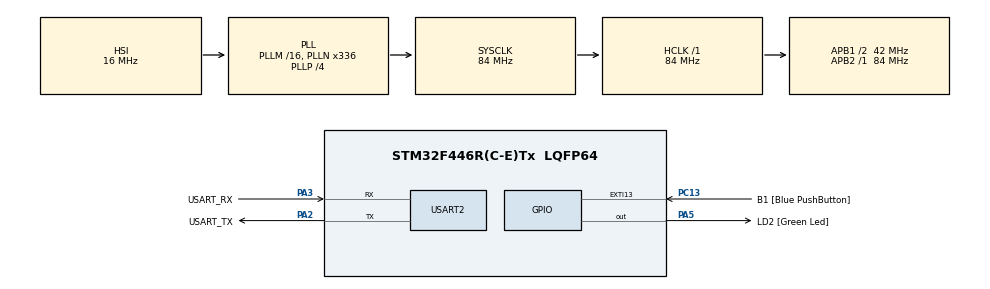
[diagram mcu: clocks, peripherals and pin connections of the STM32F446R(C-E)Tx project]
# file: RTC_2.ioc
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Mcu.Family=STM32F4
Mcu.Name=STM32F446R(C-E)Tx
Mcu.Package=LQFP64
NVIC.PriorityGroup=NVIC_PRIORITYGROUP_0
NVIC.RTC_Alarm_IRQn=true\:0\:0\:false\:false\:true\:true\:true
NVIC.TIM2_IRQn=true\:0\:0\:false\:false\:true\:true\:true
NVIC.USART2_IRQn=true\:0\:0\:false\:false\:true\:true\:true
PA13.GPIO_Label=TMS
PA13.Mode=Serial_Wire
PA13.Signal=SYS_JTMS-SWDIO
PA14.GPIO_Label=TCK
PA14.Mode=Serial_Wire
PA14.Signal=SYS_JTCK-SWCLK
PA2.GPIO_Label=USART_TX
PA2.Mode=Asynchronous
PA2.Signal=USART2_TX
PA3.GPIO_Label=USART_RX
PA3.Mode=Asynchronous
PA3.Signal=USART2_RX
PA5.GPIO_Label=LD2 [Green Led]
PA5.Signal=GPIO_Output
PB3.GPIO_Label=SWO
PB3.Signal=SYS_JTDO-SWO
PC13.GPIO_Label=B1 [Blue PushButton]
PC13.GPIO_ModeDefaultEXTI=GPIO_MODE_IT_FALLING
PC13.Signal=GPXTI13
PC14-OSC32_IN.Mode=LSE-External-Oscillator
PC14-OSC32_IN.Signal=RCC_OSC32_IN
PC15-OSC32_OUT.Mode=LSE-External-Oscillator
PC15-OSC32_OUT.Signal=RCC_OSC32_OUT
PH0-OSC_IN.Mode=HSE-External-Oscillator
PH0-OSC_IN.Signal=RCC_OSC_IN
PH1-OSC_OUT.Mode=HSE-External-Oscillator
PH1-OSC_OUT.Signal=RCC_OSC_OUT
ProjectManager.HeapSize=0x200
ProjectManager.StackSize=0x400
ProjectManager.TargetToolchain=STM32CubeIDE
RCC.48MHZClocksFreq_Value=84000000
RCC.AHBFreq_Value=84000000
RCC.APB1CLKDivider=RCC_HCLK_DIV2
RCC.APB1Freq_Value=42000000
RCC.APB1TimFreq_Value=84000000
RCC.APB2Freq_Value=84000000
RCC.APB2TimFreq_Value=84000000
RCC.CortexFreq_Value=84000000
RCC.FLatency-AdvancedSettings=FLASH_LATENCY_2
RCC.HCLKFreq_Value=84000000
RCC.HSE_VALUE=8000000
RCC.HSI_VALUE=16000000
RCC.PLLN=336
RCC.PLLP=RCC_PLLP_DIV4
RCC.RCC_RTC_Clock_SourceVirtual=RCC_RTCCLKSOURCE_LSE
RCC.SYSCLKFreq_VALUE=84000000
RCC.SYSCLKSource=RCC_SYSCLKSOURCE_PLLCLK
RCC.USBFreq_Value=168000000
RCC.VCOOutputFreq_Value=336000000
RTC.Alarm=RTC_ALARM_A
RTC.Date=11
RTC.Format=RTC_FORMAT_BIN
RTC.Hours=10
RTC.Minutes=20
RTC.Month=RTC_MONTH_NOVEMBER
RTC.WeekDay=RTC_WEEKDAY_THURSDAY
TIM2.Period=249999
TIM2.Prescaler=83
USART2.VirtualMode=VM_ASYNC
VP_RTC_VS_RTC_Activate.Mode=RTC_Enabled
VP_RTC_VS_RTC_Alarm_A_Intern.Mode=Alarm A
VP_RTC_VS_RTC_Calendar.Mode=RTC_Calendar
VP_TIM2_VS_ClockSourceINT.Mode=Internal
board=NUCLEO-F446RE

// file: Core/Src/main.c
/* USER CODE BEGIN Header */
/**
  ******************************************************************************
  * @file           : main.c
  * @brief          : Main program body
  ******************************************************************************
  * @attention
  *
  * <h2><center>&copy; Copyright (c) 2021 STMicroelectronics.
  * All rights reserved.</center></h2>
  *
  * This software component is licensed by ST under BSD 3-Clause license,
  * the "License"; You may not use this file except in compliance with the
  * License. You may obtain a copy of the License at:
  *                        opensource.org/licenses/BSD-3-Clause
  *
  ******************************************************************************
  */
/* USER CODE END Header */
#include "main.h"
#include <stdio.h>

RTC_HandleTypeDef hrtc;

TIM_HandleTypeDef htim2;

UART_HandleTypeDef huart2;

/* USER CODE BEGIN PV */
RTC_TimeTypeDef sTime = {0};
RTC_DateTypeDef sDate = {0};
char trans_str[] = {0};
/* USER CODE END PV */

void SystemClock_Config(void);
static void MX_GPIO_Init(void);
static void MX_USART2_UART_Init(void);
static void MX_TIM2_Init(void);
static void MX_RTC_Init(void);

/* USER CODE BEGIN 0 */
int _write(int file, char *ptr, int len)
{
	HAL_UART_Transmit(&huart2, (uint8_t*)ptr, len, 100);
	return len;
}

/* USER CODE END 0 */

int main(void)
{

  /* MCU Configuration--------------------------------------------------------*/

  /* Reset of all peripherals, Initializes the Flash interface and the Systick. */
  HAL_Init();

  /* Configure the system clock */
  SystemClock_Config();

  /* Initialize all configured peripherals */
  MX_GPIO_Init();
  MX_USART2_UART_Init();
  MX_TIM2_Init();
  MX_RTC_Init();
  /* USER CODE BEGIN 2 */
  HAL_TIM_Base_Start_IT(&htim2);

  //Backup register to store TIME and DATE
  HAL_RTCEx_BKUPWrite(&hrtc, RTC_BKP_DR1, 0x32F2);

  /* USER CODE END 2 */

  /* Infinite loop */
  /* USER CODE BEGIN WHILE */
  while (1)
  {
	  HAL_RTC_GetTime(&hrtc, &sTime, RTC_FORMAT_BIN); // RTC_FORMAT_BIN , RTC_FORMAT_BCD
	  //snprintf(trans_str, 63, "Time %d:%d:%d\n", sTime.Hours, sTime.Minutes, sTime.Seconds);
      //HAL_UART_Transmit(&huart2, (uint8_t*)trans_str, strlen(trans_str), 1000);
	  printf("Time %d:%d:%d\n\r", sTime.Hours, sTime.Minutes, sTime.Seconds);

	  HAL_RTC_GetDate(&hrtc, &sDate, RTC_FORMAT_BIN); // RTC_FORMAT_BIN , RTC_FORMAT_BCD
	  //snprintf(trans_str, 63, "Date %d-%d-20%d\n", sDate.Date, sDate.Month, sDate.Year);
     //HAL_UART_Transmit(&huart2, (uint8_t*)trans_str, strlen(trans_str), 1000);
	  printf("Date %.6f-%d-20%d\n\n\r", sDate.Date, sDate.Month, sDate.Year);
      HAL_Delay(1000);
    /* USER CODE END WHILE */

  }
}

void SystemClock_Config(void)
{
  RCC_OscInitTypeDef RCC_OscInitStruct = {0};
  RCC_ClkInitTypeDef RCC_ClkInitStruct = {0};

  /** Configure the main internal regulator output voltage
  */
  __HAL_RCC_PWR_CLK_ENABLE();
  __HAL_PWR_VOLTAGESCALING_CONFIG(PWR_REGULATOR_VOLTAGE_SCALE3);
  /** Initializes the RCC Oscillators according to the specified parameters
  * in the RCC_OscInitTypeDef structure.
  */
  RCC_OscInitStruct.OscillatorType = RCC_OSCILLATORTYPE_HSI|RCC_OSCILLATORTYPE_LSE;
  RCC_OscInitStruct.LSEState = RCC_LSE_ON;
  RCC_OscInitStruct.HSIState = RCC_HSI_ON;
  RCC_OscInitStruct.HSICalibrationValue = RCC_HSICALIBRATION_DEFAULT;
  RCC_OscInitStruct.PLL.PLLState = RCC_PLL_ON;
  RCC_OscInitStruct.PLL.PLLSource = RCC_PLLSOURCE_HSI;
  RCC_OscInitStruct.PLL.PLLM = 16;
  RCC_OscInitStruct.PLL.PLLN = 336;
  RCC_OscInitStruct.PLL.PLLP = RCC_PLLP_DIV4;
  RCC_OscInitStruct.PLL.PLLQ = 2;
  RCC_OscInitStruct.PLL.PLLR = 2;
  if (HAL_RCC_OscConfig(&RCC_OscInitStruct) != HAL_OK)
  {
    Error_Handler();
  }
  /** Initializes the CPU, AHB and APB buses clocks
  */
  RCC_ClkInitStruct.ClockType = RCC_CLOCKTYPE_HCLK|RCC_CLOCKTYPE_SYSCLK
                              |RCC_CLOCKTYPE_PCLK1|RCC_CLOCKTYPE_PCLK2;
  RCC_ClkInitStruct.SYSCLKSource = RCC_SYSCLKSOURCE_PLLCLK;
  RCC_ClkInitStruct.AHBCLKDivider = RCC_SYSCLK_DIV1;
  RCC_ClkInitStruct.APB1CLKDivider = RCC_HCLK_DIV2;
  RCC_ClkInitStruct.APB2CLKDivider = RCC_HCLK_DIV1;

  if (HAL_RCC_ClockConfig(&RCC_ClkInitStruct, FLASH_LATENCY_2) != HAL_OK)
  {
    Error_Handler();
  }
}

static void MX_RTC_Init(void)
{

  RTC_TimeTypeDef sTime = {0};
  RTC_DateTypeDef sDate = {0};
  RTC_AlarmTypeDef sAlarm = {0};

  /** Initialize RTC Only
  */
  hrtc.Instance = RTC;
  hrtc.Init.HourFormat = RTC_HOURFORMAT_24;
  hrtc.Init.AsynchPrediv = 127;
  hrtc.Init.SynchPrediv = 255;
  hrtc.Init.OutPut = RTC_OUTPUT_DISABLE;
  hrtc.Init.OutPutPolarity = RTC_OUTPUT_POLARITY_HIGH;
  hrtc.Init.OutPutType = RTC_OUTPUT_TYPE_OPENDRAIN;
  if (HAL_RTC_Init(&hrtc) != HAL_OK)
  {
    Error_Handler();
  }

  /** Initialize RTC and set the Time and Date
  */
  sTime.Hours = 10;
  sTime.Minutes = 20;
  sTime.Seconds = 0;
  sTime.DayLightSaving = RTC_DAYLIGHTSAVING_NONE;
  sTime.StoreOperation = RTC_STOREOPERATION_RESET;
  if (HAL_RTC_SetTime(&hrtc, &sTime, RTC_FORMAT_BIN) != HAL_OK)
  {
    Error_Handler();
  }
  sDate.WeekDay = RTC_WEEKDAY_THURSDAY;
  sDate.Month = RTC_MONTH_NOVEMBER;
  sDate.Date = 11;
  sDate.Year = 21;

  if (HAL_RTC_SetDate(&hrtc, &sDate, RTC_FORMAT_BIN) != HAL_OK)
  {
    Error_Handler();
  }
  /** Enable the Alarm A
  */
  sAlarm.AlarmTime.Hours = 0;
  sAlarm.AlarmTime.Minutes = 0;
  sAlarm.AlarmTime.Seconds = 0;
  sAlarm.AlarmTime.SubSeconds = 0;
  sAlarm.AlarmTime.DayLightSaving = RTC_DAYLIGHTSAVING_NONE;
  sAlarm.AlarmTime.StoreOperation = RTC_STOREOPERATION_RESET;
  sAlarm.AlarmMask = RTC_ALARMMASK_NONE;
  sAlarm.AlarmSubSecondMask = RTC_ALARMSUBSECONDMASK_ALL;
  sAlarm.AlarmDateWeekDaySel = RTC_ALARMDATEWEEKDAYSEL_DATE;
  sAlarm.AlarmDateWeekDay = 1;
  sAlarm.Alarm = RTC_ALARM_A;
  if (HAL_RTC_SetAlarm_IT(&hrtc, &sAlarm, RTC_FORMAT_BIN) != HAL_OK)
  {
    Error_Handler();
  }

}

static void MX_TIM2_Init(void)
{

  TIM_ClockConfigTypeDef sClockSourceConfig = {0};
  TIM_MasterConfigTypeDef sMasterConfig = {0};

  htim2.Instance = TIM2;
  htim2.Init.Prescaler = 83;
  htim2.Init.CounterMode = TIM_COUNTERMODE_UP;
  htim2.Init.Period = 249999;
  htim2.Init.ClockDivision = TIM_CLOCKDIVISION_DIV1;
  htim2.Init.AutoReloadPreload = TIM_AUTORELOAD_PRELOAD_DISABLE;
  if (HAL_TIM_Base_Init(&htim2) != HAL_OK)
  {
    Error_Handler();
  }
  sClockSourceConfig.ClockSource = TIM_CLOCKSOURCE_INTERNAL;
  if (HAL_TIM_ConfigClockSource(&htim2, &sClockSourceConfig) != HAL_OK)
  {
    Error_Handler();
  }
  sMasterConfig.MasterOutputTrigger = TIM_TRGO_RESET;
  sMasterConfig.MasterSlaveMode = TIM_MASTERSLAVEMODE_DISABLE;
  if (HAL_TIMEx_MasterConfigSynchronization(&htim2, &sMasterConfig) != HAL_OK)
  {
    Error_Handler();
  }

}

static void MX_USART2_UART_Init(void)
{

  huart2.Instance = USART2;
  huart2.Init.BaudRate = 115200;
  huart2.Init.WordLength = UART_WORDLENGTH_8B;
  huart2.Init.StopBits = UART_STOPBITS_1;
  huart2.Init.Parity = UART_PARITY_NONE;
  huart2.Init.Mode = UART_MODE_TX_RX;
  huart2.Init.HwFlowCtl = UART_HWCONTROL_NONE;
  huart2.Init.OverSampling = UART_OVERSAMPLING_16;
  if (HAL_UART_Init(&huart2) != HAL_OK)
  {
    Error_Handler();
  }

}

static void MX_GPIO_Init(void)
{
  GPIO_InitTypeDef GPIO_InitStruct = {0};

  /* GPIO Ports Clock Enable */
  __HAL_RCC_GPIOC_CLK_ENABLE();
  __HAL_RCC_GPIOH_CLK_ENABLE();
  __HAL_RCC_GPIOA_CLK_ENABLE();
  __HAL_RCC_GPIOB_CLK_ENABLE();

  /*Configure GPIO pin Output Level */
  HAL_GPIO_WritePin(LD2_GPIO_Port, LD2_Pin, GPIO_PIN_RESET);

  /*Configure GPIO pin : B1_Pin */
  GPIO_InitStruct.Pin = B1_Pin;
  GPIO_InitStruct.Mode = GPIO_MODE_IT_FALLING;
  GPIO_InitStruct.Pull = GPIO_NOPULL;
  HAL_GPIO_Init(B1_GPIO_Port, &GPIO_InitStruct);

  /*Configure GPIO pin : LD2_Pin */
  GPIO_InitStruct.Pin = LD2_Pin;
  GPIO_InitStruct.Mode = GPIO_MODE_OUTPUT_PP;
  GPIO_InitStruct.Pull = GPIO_NOPULL;
  GPIO_InitStruct.Speed = GPIO_SPEED_FREQ_LOW;
  HAL_GPIO_Init(LD2_GPIO_Port, &GPIO_InitStruct);

}

/* USER CODE BEGIN 4 */
void HAL_TIM_PeriodElapsedCallback(TIM_HandleTypeDef *htim)
{
	if (htim->Instance == TIM2) //If the source is TIM2
	{
		  HAL_GPIO_TogglePin(LD2_GPIO_Port, LD2_Pin);
	}
}
/* USER CODE END 4 */

void Error_Handler(void)
{
  __disable_irq();
  while (1)
  {
  }
}

/************************ (C) COPYRIGHT STMicroelectronics *****END OF FILE****/
